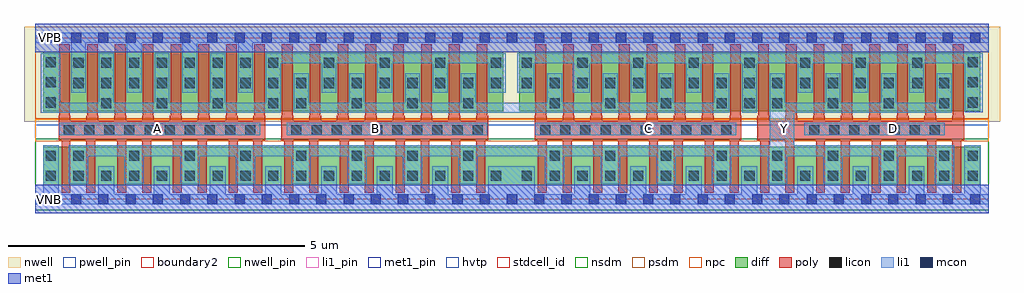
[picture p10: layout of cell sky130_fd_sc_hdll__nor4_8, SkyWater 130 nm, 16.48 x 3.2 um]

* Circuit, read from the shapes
.subckt sky130_fd_sc_hdll__nor4_8 A B C D VGND VNB VPB VPWR Y
XM1 Y A VGND VNB sky130_fd_pr__nfet_01v8 w=0.65 l=0.15 m=8
XM2 Y B VGND VNB sky130_fd_pr__nfet_01v8 w=0.65 l=0.15 m=8
XM3 Y C VGND VNB sky130_fd_pr__nfet_01v8 w=0.65 l=0.15 m=8
XM4 Y D VGND VNB sky130_fd_pr__nfet_01v8 w=0.65 l=0.15 m=8
XM5 VPWR A n1 VPB sky130_fd_pr__pfet_01v8_hvt w=1 l=0.18 m=8
XM6 n2 B n1 VPB sky130_fd_pr__pfet_01v8_hvt w=1 l=0.18 m=8
XM7 n2 C n3 VPB sky130_fd_pr__pfet_01v8_hvt w=1 l=0.18 m=8
XM8 Y D n3 VPB sky130_fd_pr__pfet_01v8_hvt w=1 l=0.18 m=8
.ends

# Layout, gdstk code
import gdstk
lib = gdstk.Library(unit=1e-6, precision=1e-09)
def R(c, l, rs):  # rectangles x0, y0, x1, y1
    for r in rs: c.add(gdstk.rectangle(r[:2], r[2:], *l))
def A(c, l, x, y, w, h, nx, ny, dx, dy):  # array of equal rectangles
    R(c, l, [(x+i*dx, y+j*dy, x+i*dx+w, y+j*dy+h) for i in range(nx) for j in range(ny)])
def P(c, l, *ps):  # polygons
    for p in ps: c.add(gdstk.Polygon(p, *l))
nwell_pin = (64, 16)
nwell = (64, 20)
diff = (65, 20)
poly = (66, 20)
licon = (66, 44)
li1_pin = (67, 16)
li1 = (67, 20)
mcon = (67, 44)
met1_pin = (68, 16)
met1 = (68, 20)
hvtp = (78, 44)
stdcell_id = (81, 4)
nsdm = (93, 44)
psdm = (94, 20)
npc = (95, 20)
pwell_pin = (122, 16)
boundary2 = (236, 0)

sky130_fd_sc_hdll__nor4_ = lib.new_cell('sky130_fd_sc_hdll__nor4_8')
R(sky130_fd_sc_hdll__nor4_, nwell_pin, [(0.15,2.635,0.32,2.805)])
R(sky130_fd_sc_hdll__nor4_, nwell, [(-0.19,1.305,16.29,2.91)])
R(sky130_fd_sc_hdll__nor4_, diff, [(0.135,0.235,15.955,0.885), (0.135,1.485,7.905,2.485), (8.175,1.485,15.955,2.485)])
P(sky130_fd_sc_hdll__nor4_, poly, [(3.885,1.41),(3.875,1.41),(3.875,2.615),(3.695,2.615),(3.695,1.41),(3.685,1.41),(3.685,1.325),(3.415,1.325),(3.415,1.41),(3.405,1.41),(3.405,2.615),(3.225,2.615),(3.225,1.41),(3.215,1.41),(3.215,1.325),(2.945,1.325),(2.945,1.41),(2.935,1.41),(2.935,2.615),(2.755,2.615),(2.755,1.41),(2.745,1.41),(2.745,1.325),(2.475,1.325),(2.475,1.41),(2.465,1.41),(2.465,2.615),(2.285,2.615),(2.285,1.41),(2.275,1.41),(2.275,1.325),(2.005,1.325),(2.005,1.41),(1.995,1.41),(1.995,2.615),(1.815,2.615),(1.815,1.41),(1.805,1.41),(1.805,1.325),(1.535,1.325),(1.535,1.41),(1.525,1.41),(1.525,2.615),(1.345,2.615),(1.345,1.41),(1.335,1.41),(1.335,1.325),(1.065,1.325),(1.065,1.41),(1.055,1.41),(1.055,2.615),(0.875,2.615),(0.875,1.41),(0.865,1.41),(0.865,1.325),(0.595,1.325),(0.595,1.41),(0.585,1.41),(0.585,2.615),(0.405,2.615),(0.405,1.41),(0.395,1.41),(0.395,0.995),(0.445,0.995),(0.445,0.105),(0.595,0.105),(0.595,0.995),(0.865,0.995),(0.865,0.105),(1.015,0.105),(1.015,0.995),(1.385,0.995),(1.385,0.105),(1.535,0.105),(1.535,0.995),(1.805,0.995),(1.805,0.105),(1.955,0.105),(1.955,0.995),(2.325,0.995),(2.325,0.105),(2.475,0.105),(2.475,0.995),(2.745,0.995),(2.745,0.105),(2.895,0.105),(2.895,0.995),(3.265,0.995),(3.265,0.105),(3.415,0.105),(3.415,0.995),(3.685,0.995),(3.685,0.105),(3.835,0.105),(3.835,0.995),(3.885,0.995)],
  [(7.645,1.41),(7.635,1.41),(7.635,2.615),(7.455,2.615),(7.455,1.41),(7.445,1.41),(7.445,1.325),(7.175,1.325),(7.175,1.41),(7.165,1.41),(7.165,2.615),(6.985,2.615),(6.985,1.41),(6.975,1.41),(6.975,1.325),(6.705,1.325),(6.705,1.41),(6.695,1.41),(6.695,2.615),(6.515,2.615),(6.515,1.41),(6.505,1.41),(6.505,1.325),(6.235,1.325),(6.235,1.41),(6.225,1.41),(6.225,2.615),(6.045,2.615),(6.045,1.41),(6.035,1.41),(6.035,1.325),(5.765,1.325),(5.765,1.41),(5.755,1.41),(5.755,2.615),(5.575,2.615),(5.575,1.41),(5.565,1.41),(5.565,1.325),(5.295,1.325),(5.295,1.41),(5.285,1.41),(5.285,2.615),(5.105,2.615),(5.105,1.41),(5.095,1.41),(5.095,1.325),(4.825,1.325),(4.825,1.41),(4.815,1.41),(4.815,2.615),(4.635,2.615),(4.635,1.41),(4.625,1.41),(4.625,1.325),(4.355,1.325),(4.355,1.41),(4.345,1.41),(4.345,2.615),(4.165,2.615),(4.165,1.41),(4.155,1.41),(4.155,0.995),(4.205,0.995),(4.205,0.105),(4.355,0.105),(4.355,0.995),(4.625,0.995),(4.625,0.105),(4.775,0.105),(4.775,0.995),(5.145,0.995),(5.145,0.105),(5.295,0.105),(5.295,0.995),(5.565,0.995),(5.565,0.105),(5.715,0.105),(5.715,0.995),(6.085,0.995),(6.085,0.105),(6.235,0.105),(6.235,0.995),(6.505,0.995),(6.505,0.105),(6.655,0.105),(6.655,0.995),(7.025,0.995),(7.025,0.105),(7.175,0.105),(7.175,0.995),(7.445,0.995),(7.445,0.105),(7.595,0.105),(7.595,0.995),(7.645,0.995)],
  [(11.925,1.41),(11.915,1.41),(11.915,2.615),(11.735,2.615),(11.735,1.41),(11.725,1.41),(11.725,1.325),(11.455,1.325),(11.455,1.41),(11.445,1.41),(11.445,2.615),(11.265,2.615),(11.265,1.41),(11.255,1.41),(11.255,1.325),(10.985,1.325),(10.985,1.41),(10.975,1.41),(10.975,2.615),(10.795,2.615),(10.795,1.41),(10.785,1.41),(10.785,1.325),(10.515,1.325),(10.515,1.41),(10.505,1.41),(10.505,2.615),(10.325,2.615),(10.325,1.41),(10.315,1.41),(10.315,1.325),(10.045,1.325),(10.045,1.41),(10.035,1.41),(10.035,2.615),(9.855,2.615),(9.855,1.41),(9.845,1.41),(9.845,1.325),(9.575,1.325),(9.575,1.41),(9.565,1.41),(9.565,2.615),(9.385,2.615),(9.385,1.41),(9.375,1.41),(9.375,1.325),(9.105,1.325),(9.105,1.41),(9.095,1.41),(9.095,2.615),(8.915,2.615),(8.915,1.41),(8.905,1.41),(8.905,1.325),(8.635,1.325),(8.635,1.41),(8.625,1.41),(8.625,2.615),(8.445,2.615),(8.445,1.41),(8.435,1.41),(8.435,0.995),(8.485,0.995),(8.485,0.105),(8.635,0.105),(8.635,0.995),(8.905,0.995),(8.905,0.105),(9.055,0.105),(9.055,0.995),(9.425,0.995),(9.425,0.105),(9.575,0.105),(9.575,0.995),(9.845,0.995),(9.845,0.105),(9.995,0.105),(9.995,0.995),(10.365,0.995),(10.365,0.105),(10.515,0.105),(10.515,0.995),(10.785,0.995),(10.785,0.105),(10.935,0.105),(10.935,0.995),(11.305,0.995),(11.305,0.105),(11.455,0.105),(11.455,0.995),(11.725,0.995),(11.725,0.105),(11.875,0.105),(11.875,0.995),(11.925,0.995)],
  [(15.685,1.41),(15.675,1.41),(15.675,2.615),(15.495,2.615),(15.495,1.41),(15.485,1.41),(15.485,1.325),(15.215,1.325),(15.215,1.41),(15.205,1.41),(15.205,2.615),(15.025,2.615),(15.025,1.41),(15.015,1.41),(15.015,1.325),(14.745,1.325),(14.745,1.41),(14.735,1.41),(14.735,2.615),(14.555,2.615),(14.555,1.41),(14.545,1.41),(14.545,1.325),(14.275,1.325),(14.275,1.41),(14.265,1.41),(14.265,2.615),(14.085,2.615),(14.085,1.41),(14.075,1.41),(14.075,1.325),(13.805,1.325),(13.805,1.41),(13.795,1.41),(13.795,2.615),(13.615,2.615),(13.615,1.41),(13.605,1.41),(13.605,1.325),(13.335,1.325),(13.335,1.41),(13.325,1.41),(13.325,2.615),(13.145,2.615),(13.145,1.41),(13.135,1.41),(13.135,1.325),(12.865,1.325),(12.865,1.41),(12.855,1.41),(12.855,2.615),(12.675,2.615),(12.675,1.41),(12.665,1.41),(12.665,1.325),(12.395,1.325),(12.395,1.41),(12.385,1.41),(12.385,2.615),(12.205,2.615),(12.205,1.41),(12.195,1.41),(12.195,0.995),(12.245,0.995),(12.245,0.105),(12.395,0.105),(12.395,0.995),(12.665,0.995),(12.665,0.105),(12.815,0.105),(12.815,0.995),(13.185,0.995),(13.185,0.105),(13.335,0.105),(13.335,0.995),(13.605,0.995),(13.605,0.105),(13.755,0.105),(13.755,0.995),(14.125,0.995),(14.125,0.105),(14.275,0.105),(14.275,0.995),(14.545,0.995),(14.545,0.105),(14.695,0.105),(14.695,0.995),(15.065,0.995),(15.065,0.105),(15.215,0.105),(15.215,0.995),(15.485,0.995),(15.485,0.105),(15.635,0.105),(15.635,0.995),(15.685,0.995)])
A(sky130_fd_sc_hdll__nor4_, licon, 0.175, 0.305, 0.17, 0.17, 17, 1, 0.47, 0)
A(sky130_fd_sc_hdll__nor4_, licon, 8.215, 0.305, 0.17, 0.17, 14, 2, 0.47, 1.57)
A(sky130_fd_sc_hdll__nor4_, licon, 0.645, 0.645, 0.17, 0.17, 8, 1, 0.94, 0)
A(sky130_fd_sc_hdll__nor4_, licon, 8.685, 0.645, 0.17, 0.17, 8, 1, 0.94, 0)
A(sky130_fd_sc_hdll__nor4_, licon, 0.485, 1.075, 0.17, 0.17, 10, 1, 0.34, 0)
A(sky130_fd_sc_hdll__nor4_, licon, 4.325, 1.075, 0.17, 0.17, 10, 1, 0.34, 0)
A(sky130_fd_sc_hdll__nor4_, licon, 8.525, 1.075, 0.17, 0.17, 10, 1, 0.34, 0)
A(sky130_fd_sc_hdll__nor4_, licon, 13.065, 1.075, 0.17, 0.17, 7, 1, 0.34, 0)
A(sky130_fd_sc_hdll__nor4_, licon, 1.115, 1.535, 0.17, 0.17, 4, 1, 0.94, 0)
A(sky130_fd_sc_hdll__nor4_, licon, 4.405, 1.535, 0.17, 0.17, 4, 1, 0.94, 0)
A(sky130_fd_sc_hdll__nor4_, licon, 8.685, 1.535, 0.17, 0.17, 4, 1, 0.94, 0)
A(sky130_fd_sc_hdll__nor4_, licon, 12.445, 1.535, 0.17, 0.17, 4, 1, 0.94, 0)
A(sky130_fd_sc_hdll__nor4_, licon, 0.175, 1.545, 0.17, 0.17, 1, 3, 0, 0.34)
A(sky130_fd_sc_hdll__nor4_, licon, 15.745, 1.545, 0.17, 0.17, 1, 3, 0, 0.34)
A(sky130_fd_sc_hdll__nor4_, licon, 0.645, 1.875, 0.17, 0.17, 16, 1, 0.47, 0)
A(sky130_fd_sc_hdll__nor4_, licon, 0.645, 2.215, 0.17, 0.17, 8, 1, 0.47, 0)
A(sky130_fd_sc_hdll__nor4_, licon, 4.875, 2.215, 0.17, 0.17, 4, 1, 0.94, 0)
A(sky130_fd_sc_hdll__nor4_, licon, 8.215, 2.215, 0.17, 0.17, 7, 1, 0.94, 0)
R(sky130_fd_sc_hdll__nor4_, licon, [(14.805,0.305,14.975,0.475), (15.265,0.305,15.435,0.475), (15.745,0.305,15.915,0.475), (0.175,0.645,0.345,0.815), (15.745,0.645,15.915,0.815), (11.975,1.535,12.145,1.705), (14.805,1.875,14.975,2.045), (15.265,1.875,15.435,2.045), (14.805,2.215,14.975,2.385)])
R(sky130_fd_sc_hdll__nor4_, li1_pin, [(1.985,1.105,2.155,1.275), (5.665,1.105,5.835,1.275), (10.265,1.105,10.435,1.275), (12.565,1.105,12.735,1.275), (14.405,1.105,14.575,1.275)])
A(sky130_fd_sc_hdll__nor4_, li1, 1.065, 0.085, 0.27, 0.47, 7, 1, 0.94, 0)
A(sky130_fd_sc_hdll__nor4_, li1, 9.105, 0.085, 0.27, 0.47, 7, 1, 0.94, 0)
A(sky130_fd_sc_hdll__nor4_, li1, 0.605, 1.795, 0.25, 0.84, 4, 1, 0.94, 0)
R(sky130_fd_sc_hdll__nor4_, li1, [(0,-0.085,16.1,0.085), (0.135,0.085,0.395,0.905), (7.645,0.085,8.435,0.555), (15.685,0.085,15.965,0.905), (0.405,1.075,3.795,1.285), (4.245,1.075,7.635,1.285), (8.445,1.075,11.835,1.285), (12.985,1.075,15.355,1.285), (0,2.635,16.1,2.805)])
P(sky130_fd_sc_hdll__nor4_, li1, [(7.945,2.465),(3.895,2.465),(3.895,1.625),(3.205,1.625),(3.205,2.465),(2.955,2.465),(2.955,1.625),(2.265,1.625),(2.265,2.465),(2.015,2.465),(2.015,1.625),(1.325,1.625),(1.325,2.465),(1.075,2.465),(1.075,1.625),(0.425,1.625),(0.425,2.465),(0.095,2.465),(0.095,1.455),(4.145,1.455),(4.145,2.295),(4.835,2.295),(4.835,1.795),(5.085,1.795),(5.085,2.295),(5.775,2.295),(5.775,1.795),(6.025,1.795),(6.025,2.295),(6.715,2.295),(6.715,1.795),(6.965,1.795),(6.965,2.295),(7.655,2.295),(7.655,1.795),(7.945,1.795)],
  [(11.715,2.125),(11.465,2.125),(11.465,1.625),(10.775,1.625),(10.775,2.125),(10.525,2.125),(10.525,1.625),(9.835,1.625),(9.835,2.125),(9.585,2.125),(9.585,1.625),(8.895,1.625),(8.895,2.125),(8.645,2.125),(8.645,1.625),(7.435,1.625),(7.435,2.125),(7.185,2.125),(7.185,1.625),(6.495,1.625),(6.495,2.125),(6.245,2.125),(6.245,1.625),(5.555,1.625),(5.555,2.125),(5.305,2.125),(5.305,1.625),(4.615,1.625),(4.615,2.125),(4.365,2.125),(4.365,1.455),(11.715,1.455)],
  [(15.515,0.905),(12.815,0.905),(12.815,1.455),(15.475,1.455),(15.475,2.125),(15.225,2.125),(15.225,1.625),(14.535,1.625),(14.535,2.125),(14.285,2.125),(14.285,1.625),(13.595,1.625),(13.595,2.125),(13.345,2.125),(13.345,1.625),(12.655,1.625),(12.655,2.125),(12.405,2.125),(12.405,0.905),(0.565,0.905),(0.565,0.255),(0.895,0.255),(0.895,0.725),(1.505,0.725),(1.505,0.255),(1.835,0.255),(1.835,0.725),(2.445,0.725),(2.445,0.255),(2.775,0.255),(2.775,0.725),(3.385,0.725),(3.385,0.255),(3.715,0.255),(3.715,0.725),(4.325,0.725),(4.325,0.255),(4.655,0.255),(4.655,0.725),(5.265,0.725),(5.265,0.255),(5.595,0.255),(5.595,0.725),(6.205,0.725),(6.205,0.255),(6.535,0.255),(6.535,0.725),(7.145,0.725),(7.145,0.255),(7.475,0.255),(7.475,0.725),(8.605,0.725),(8.605,0.255),(8.935,0.255),(8.935,0.725),(9.545,0.725),(9.545,0.255),(9.875,0.255),(9.875,0.725),(10.485,0.725),(10.485,0.255),(10.815,0.255),(10.815,0.725),(11.425,0.725),(11.425,0.255),(11.755,0.255),(11.755,0.725),(12.365,0.725),(12.365,0.255),(12.695,0.255),(12.695,0.725),(13.305,0.725),(13.305,0.255),(13.635,0.255),(13.635,0.725),(14.245,0.725),(14.245,0.255),(14.575,0.255),(14.575,0.725),(15.185,0.725),(15.185,0.255),(15.515,0.255)],
  [(15.995,2.465),(8.135,2.465),(8.135,1.795),(8.425,1.795),(8.425,2.295),(9.075,2.295),(9.075,1.795),(9.365,1.795),(9.365,2.295),(10.055,2.295),(10.055,1.795),(10.305,1.795),(10.305,2.295),(10.995,2.295),(10.995,1.795),(11.245,1.795),(11.245,2.295),(11.935,2.295),(11.935,1.455),(12.185,1.455),(12.185,2.295),(12.875,2.295),(12.875,1.795),(13.125,1.795),(13.125,2.295),(13.815,2.295),(13.815,1.795),(14.065,1.795),(14.065,2.295),(14.755,2.295),(14.755,1.795),(15.005,1.795),(15.005,2.295),(15.695,2.295),(15.695,1.465),(15.995,1.465)])
A(sky130_fd_sc_hdll__nor4_, mcon, 0.145, -0.085, 0.17, 0.17, 35, 2, 0.46, 2.72)
R(sky130_fd_sc_hdll__nor4_, met1_pin, [(0.15,-0.085,0.32,0.085), (0.15,2.635,0.32,2.805)])
R(sky130_fd_sc_hdll__nor4_, met1, [(0,-0.24,16.1,0.24), (0,2.48,16.1,2.96)])
R(sky130_fd_sc_hdll__nor4_, hvtp, [(0,1.25,16.1,2.72)])
R(sky130_fd_sc_hdll__nor4_, stdcell_id, [(0,0,16.1,2.72)])
R(sky130_fd_sc_hdll__nor4_, nsdm, [(0,-0.19,16.1,1.015)])
R(sky130_fd_sc_hdll__nor4_, psdm, [(0,1.355,16.1,2.91)])
R(sky130_fd_sc_hdll__nor4_, npc, [(0,0.975,16.1,1.345)])
R(sky130_fd_sc_hdll__nor4_, pwell_pin, [(0.15,-0.085,0.32,0.085)])
R(sky130_fd_sc_hdll__nor4_, boundary2, [(0,0,16.1,2.72)])
sky130_fd_sc_hdll__nor4_.add(gdstk.Label('A', (2.07,1.19), layer=67, texttype=5))
sky130_fd_sc_hdll__nor4_.add(gdstk.Label('C', (10.35,1.19), layer=67, texttype=5))
sky130_fd_sc_hdll__nor4_.add(gdstk.Label('D', (14.49,1.19), layer=67, texttype=5))
sky130_fd_sc_hdll__nor4_.add(gdstk.Label('B', (5.75,1.19), layer=67, texttype=5))
sky130_fd_sc_hdll__nor4_.add(gdstk.Label('Y', (12.65,1.19), layer=67, texttype=5))
sky130_fd_sc_hdll__nor4_.add(gdstk.Label('VPB', (0.25,2.72), layer=64, texttype=5))
sky130_fd_sc_hdll__nor4_.add(gdstk.Label('VNB', (0.235,0), layer=64, texttype=59))
sky130_fd_sc_hdll__nor4_.add(gdstk.Label('VGND', (0.235,0), layer=68, texttype=5))
sky130_fd_sc_hdll__nor4_.add(gdstk.Label('VPWR', (0.25,2.72), layer=68, texttype=5))
sky130_fd_sc_hdll__nor4_.add(gdstk.Label('nor4_8', (0,0), layer=83, texttype=44))

lib.write_gds('sky130_fd_sc_hdll__nor4_8.gds')
